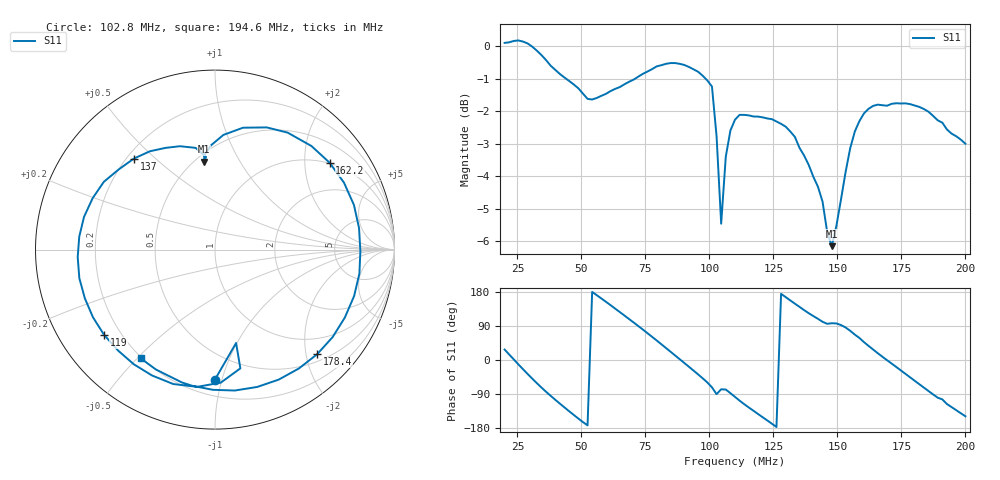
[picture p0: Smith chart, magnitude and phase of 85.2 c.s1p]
# HZ S RI R 50
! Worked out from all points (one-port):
!   101 points, 20 MHz to 200 MHz, reference 50 ohm
!   lowest |S11| = -6.1 dB at 147.8 MHz (marker M1), VSWR 2.94, Z = 27.8 + j35.9 ohm
!   |S11| at or under -10 dB: nowhere
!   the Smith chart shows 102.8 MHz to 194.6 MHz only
!   S11 on the Smith chart (normalised r, x): 102.8 MHz: 0.31, -0.95; 119 MHz: 0.14, -0.33; 137 MHz: 0.23, +0.43; 162.2 MHz: 0.98, +2.66; 178.4 MHz: 0.64, -2.22; 194.6 MHz: 0.20, -0.51
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2e7  0.896 0.4696
2.54e7  0.9991 -0.207
3.26e7  0.4757 -0.8616
3.8e7  -0.074 -0.9301
4.34e7  -0.5164 -0.7309
4.88e7  -0.7778 -0.3705
5.42e7  -0.828 0.00619
6.5e7  -0.5148 0.6955
7.58e7  0.3007 0.8632
8.3e7  0.798 0.4954
8.84e7  0.9388 0.0343
9.56e7  0.7189 -0.5633
1.01e8  0.2655 -0.8253
1.028e8  -0.00207 -0.7272
1.046e8  0.1175 -0.5205
1.1e8  -0.0988 -0.7647
1.19e8  -0.6185 -0.4744
1.262e8  -0.765 -0.0419
1.334e8  -0.6194 0.3777
1.37e8  -0.4514 0.5075
1.478e8  -0.06 0.4892
1.55e8  0.1561 0.6792
1.622e8  0.6389 0.4837
1.712e8  0.8046 -0.1333
1.784e8  0.5687 -0.5833
1.856e8  0.1106 -0.7851
1.946e8  -0.4134 -0.6064
2e8  -0.6034 -0.3705
